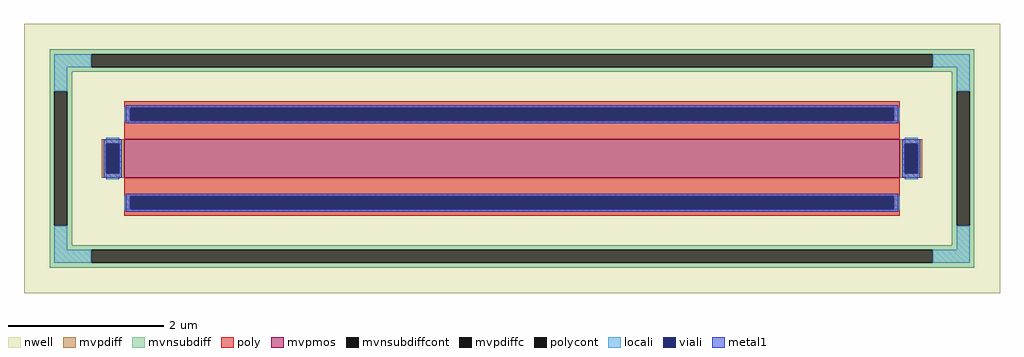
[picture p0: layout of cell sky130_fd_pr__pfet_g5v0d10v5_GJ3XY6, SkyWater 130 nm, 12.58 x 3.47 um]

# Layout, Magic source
magic
tech sky130A
magscale 1 2
<< nwell >>
rect -1258 -347 1258 347
<< mvpmos >>
rect -1000 -50 1000 50
<< mvpdiff >>
rect -1058 38 -1000 50
rect -1058 -38 -1046 38
rect -1012 -38 -1000 38
rect -1058 -50 -1000 -38
rect 1000 38 1058 50
rect 1000 -38 1012 38
rect 1046 -38 1058 38
rect 1000 -50 1058 -38
<< mvpdiffc >>
rect -1046 -38 -1012 38
rect 1012 -38 1046 38
<< mvnsubdiff >>
rect -1192 269 1192 281
rect -1192 235 -1084 269
rect 1084 235 1192 269
rect -1192 223 1192 235
rect -1192 173 -1134 223
rect -1192 -173 -1180 173
rect -1146 -173 -1134 173
rect 1134 173 1192 223
rect -1192 -223 -1134 -173
rect 1134 -173 1146 173
rect 1180 -173 1192 173
rect 1134 -223 1192 -173
rect -1192 -235 1192 -223
rect -1192 -269 -1084 -235
rect 1084 -269 1192 -235
rect -1192 -281 1192 -269
<< mvnsubdiffcont >>
rect -1084 235 1084 269
rect -1180 -173 -1146 173
rect 1146 -173 1180 173
rect -1084 -269 1084 -235
<< poly >>
rect -1000 131 1000 147
rect -1000 97 -984 131
rect 984 97 1000 131
rect -1000 50 1000 97
rect -1000 -97 1000 -50
rect -1000 -131 -984 -97
rect 984 -131 1000 -97
rect -1000 -147 1000 -131
<< polycont >>
rect -984 97 984 131
rect -984 -131 984 -97
<< locali >>
rect -1180 235 -1084 269
rect 1084 235 1180 269
rect -1180 173 -1146 235
rect 1146 173 1180 235
rect -1000 97 -984 131
rect 984 97 1000 131
rect -1046 38 -1012 54
rect -1046 -54 -1012 -38
rect 1012 38 1046 54
rect 1012 -54 1046 -38
rect -1000 -131 -984 -97
rect 984 -131 1000 -97
rect -1180 -235 -1146 -173
rect 1146 -235 1180 -173
rect -1180 -269 -1084 -235
rect 1084 -269 1180 -235
<< viali >>
rect -984 97 984 131
rect -1046 -38 -1012 38
rect 1012 -38 1046 38
rect -984 -131 984 -97
<< metal1 >>
rect -996 131 996 137
rect -996 97 -984 131
rect 984 97 996 131
rect -996 91 996 97
rect -1052 38 -1006 50
rect -1052 -38 -1046 38
rect -1012 -38 -1006 38
rect -1052 -50 -1006 -38
rect 1006 38 1052 50
rect 1006 -38 1012 38
rect 1046 -38 1052 38
rect 1006 -50 1052 -38
rect -996 -97 996 -91
rect -996 -131 -984 -97
rect 984 -131 996 -97
rect -996 -137 996 -131
<< properties >>
string FIXED_BBOX -1163 -252 1163 252
string gencell sky130_fd_pr__pfet_g5v0d10v5
string library sky130
string parameters w 0.5 l 10.0 m 1 nf 1 diffcov 100 polycov 100 guard 1 glc 1 grc 1 gtc 1 gbc 1 tbcov 100 rlcov 100 topc 1 botc 1 poverlap 0 doverlap 1 lmin 0.50 wmin 0.42 class mosfet compatible {sky130_fd_pr__pfet_01v8  sky130_fd_pr__pfet_01v8_lvt sky130_fd_pr__pfet_01v8_hvt  sky130_fd_pr__pfet_g5v0d10v5} full_metal 1 viasrc 100 viadrn 100 viagate 100 viagb 0 viagr 0 viagl 0 viagt 0 ad {int((nf+1)/2) * W/nf * 0.29} as {int((nf+2)/2) * W/nf * 0.29} pd {2*int((nf+1)/2) * (W/nf + 0.29)} ps {2*int((nf+2)/2) * (W/nf + 0.29)} nrd {0.29 / W} nrs {0.29 / W} sa 0 sb 0 sd 0 mult 1
<< end >>
